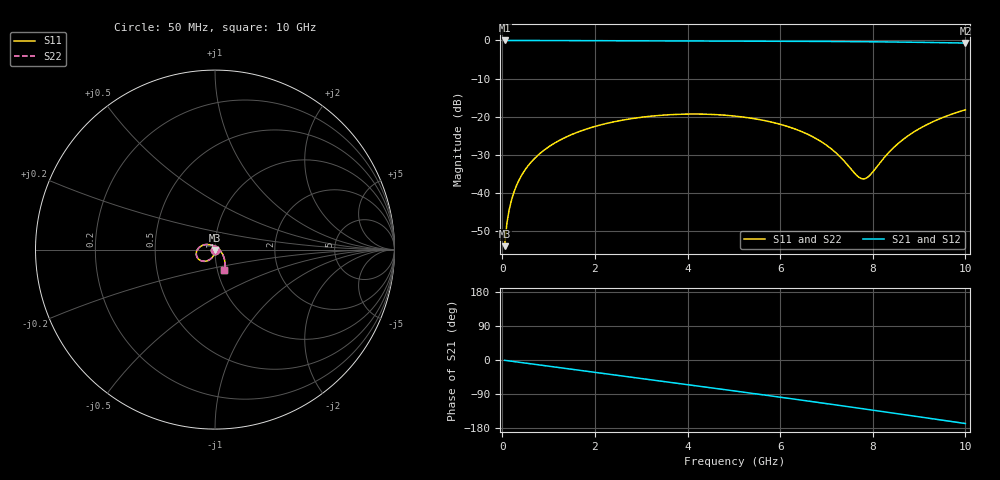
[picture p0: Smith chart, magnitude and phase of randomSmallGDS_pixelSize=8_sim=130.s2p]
! freq	dB(S11)	phase(S11)	dB(S12)	phase(S12)
!  dB(S21)	phase(S21)	dB(S22)	phase(S22)
!S-par simulation data
#  GHz  S  DB  R 50
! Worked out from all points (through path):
!   200 points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, 50 MHz to 10 GHz, reference 50 ohm
!   highest |S21| = 0.00 dB at 50 MHz (marker M1); lowest = -0.7 dB at 10 GHz (marker M2)
!   group delay of S21, straight-line fit = 46.4 ps
!   lowest |S11| = -53.9 dB at 50 MHz (marker M3), VSWR 1.00, Z = 50 - j0.202 ohm
!   |S11| at or under -10 dB: start of sweep to end of sweep
!   |S22| runs from -53.9 to -18.2 dB; largest |S21 - S12| = 0
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0.05  -53.91 -90.7  -0.00 -0.8  -0.00 -0.8  -53.91 -90.7
0.1  -47.86 -92.1  -0.00 -1.6  -0.00 -1.6  -47.86 -92.1
0.15  -44.30 -93.1  -0.00 -2.5  -0.00 -2.5  -44.30 -93.1
0.2  -41.77 -94.1  -0.00 -3.3  -0.00 -3.3  -41.77 -94.1
0.35  -36.87 -96.6  -0.01 -5.7  -0.01 -5.7  -36.87 -96.6
0.5  -33.77 -99.0  -0.01 -8.2  -0.01 -8.2  -33.77 -99.0
0.7  -30.88 -102.3  -0.02 -11.5  -0.02 -11.5  -30.88 -102.3
1  -27.89 -107.3  -0.02 -16.3  -0.02 -16.3  -27.89 -107.3
1.75  -23.49 -119.7  -0.05 -28.5  -0.05 -28.5  -23.49 -119.7
2.5  -21.10 -132.1  -0.08 -40.6  -0.08 -40.6  -21.10 -132.1
3.4  -19.64 -147.1  -0.11 -55.2  -0.11 -55.2  -19.64 -147.1
4.25  -19.29 -161.6  -0.14 -69.1  -0.14 -69.1  -19.29 -161.6
5.05  -19.86 -175.9  -0.17 -82.2  -0.17 -82.2  -19.86 -175.9
5.95  -21.81 166.5  -0.20 -97.2  -0.20 -97.2  -21.81 166.6
6.7  -25.22 148.3  -0.24 -109.9  -0.24 -109.9  -25.22 148.4
7.15  -28.86 131.7  -0.27 -117.6  -0.27 -117.6  -28.87 131.8
7.75  -36.19 65.4  -0.32 -128.0  -0.32 -128.0  -36.27 65.5
7.9  -35.76 33.6  -0.34 -130.6  -0.34 -130.6  -35.83 33.5
8.35  -29.31 -17.6  -0.39 -138.5  -0.39 -138.5  -29.33 -17.8
8.65  -25.99 -31.6  -0.43 -143.7  -0.43 -143.7  -26.00 -31.8
9.05  -22.81 -44.2  -0.50 -150.8  -0.50 -150.8  -22.82 -44.3
10  -18.17 -65.7  -0.68 -167.6  -0.68 -167.6  -18.18 -65.8
